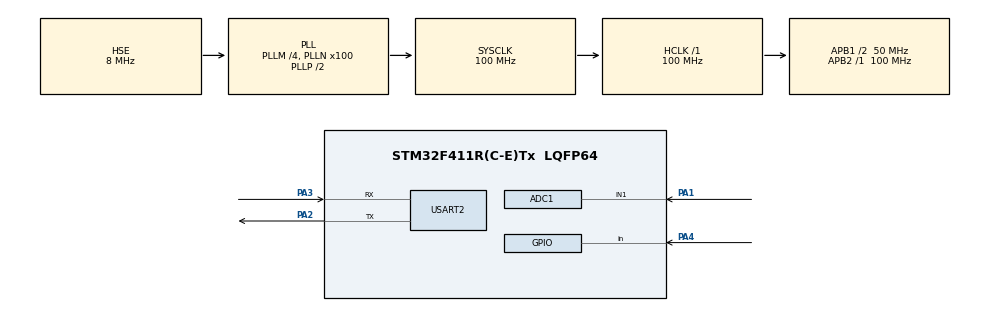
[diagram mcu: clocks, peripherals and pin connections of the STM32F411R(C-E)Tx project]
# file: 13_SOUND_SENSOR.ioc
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ADC1.Channel-0\#ChannelRegularConversion=ADC_CHANNEL_1
ADC1.ClockPrescaler=ADC_CLOCK_SYNC_PCLK_DIV8
ADC1.ContinuousConvMode=ENABLE
ADC1.DMAContinuousRequests=ENABLE
ADC1.NbrOfConversionFlag=1
ADC1.Rank-0\#ChannelRegularConversion=1
ADC1.SamplingTime-0\#ChannelRegularConversion=ADC_SAMPLETIME_480CYCLES
ADC1.ScanConvMode=ENABLE
ADC1.master=1
Dma.ADC1.0.Direction=DMA_PERIPH_TO_MEMORY
Dma.ADC1.0.FIFOMode=DMA_FIFOMODE_DISABLE
Dma.ADC1.0.Instance=DMA2_Stream0
Dma.ADC1.0.MemDataAlignment=DMA_MDATAALIGN_HALFWORD
Dma.ADC1.0.MemInc=DMA_MINC_ENABLE
Dma.ADC1.0.Mode=DMA_CIRCULAR
Dma.ADC1.0.PeriphDataAlignment=DMA_PDATAALIGN_HALFWORD
Dma.ADC1.0.PeriphInc=DMA_PINC_DISABLE
Dma.ADC1.0.Priority=DMA_PRIORITY_LOW
Dma.Request0=ADC1
Mcu.Family=STM32F4
Mcu.Name=STM32F411R(C-E)Tx
Mcu.Package=LQFP64
NVIC.DMA2_Stream0_IRQn=true\:0\:0\:false\:false\:true\:false\:true\:true
NVIC.PriorityGroup=NVIC_PRIORITYGROUP_4
PA1.Signal=ADCx_IN1
PA13.Mode=Serial_Wire
PA13.Signal=SYS_JTMS-SWDIO
PA14.Mode=Serial_Wire
PA14.Signal=SYS_JTCK-SWCLK
PA2.Mode=Asynchronous
PA2.Signal=USART2_TX
PA3.Mode=Asynchronous
PA3.Signal=USART2_RX
PA4.Signal=GPIO_Input
PH0\ -\ OSC_IN.Mode=HSE-External-Oscillator
PH0\ -\ OSC_IN.Signal=RCC_OSC_IN
PH1\ -\ OSC_OUT.Mode=HSE-External-Oscillator
PH1\ -\ OSC_OUT.Signal=RCC_OSC_OUT
ProjectManager.HeapSize=0x200
ProjectManager.StackSize=0x400
ProjectManager.TargetToolchain=STM32CubeIDE
RCC.48MHZClocksFreq_Value=50000000
RCC.AHBFreq_Value=100000000
RCC.APB1CLKDivider=RCC_HCLK_DIV2
RCC.APB1Freq_Value=50000000
RCC.APB1TimFreq_Value=100000000
RCC.APB2Freq_Value=100000000
RCC.APB2TimFreq_Value=100000000
RCC.CortexFreq_Value=100000000
RCC.HCLKFreq_Value=100000000
RCC.HSE_VALUE=8000000
RCC.HSI_VALUE=16000000
RCC.LSE_VALUE=32768
RCC.PLLM=4
RCC.PLLN=100
RCC.PLLSourceVirtual=RCC_PLLSOURCE_HSE
RCC.SYSCLKFreq_VALUE=100000000
RCC.SYSCLKSource=RCC_SYSCLKSOURCE_PLLCLK
RCC.VCOOutputFreq_Value=200000000
SH.ADCx_IN1.0=ADC1_IN1,IN1
USART2.VirtualMode=VM_ASYNC
board=custom

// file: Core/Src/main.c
/* USER CODE BEGIN Header */
/**
  ******************************************************************************
  * @file           : main.c
  * @brief          : Main program body
  ******************************************************************************
  * @attention
  *
  * Copyright (c) 2025 STMicroelectronics.
  * All rights reserved.
  *
  * This software is licensed under terms that can be found in the LICENSE file
  * in the root directory of this software component.
  * If no LICENSE file comes with this software, it is provided AS-IS.
  *
  ******************************************************************************
  */
/* USER CODE END Header */
#include "main.h"
#include "adc.h"
#include "dma.h"
#include "usart.h"
#include "gpio.h"

/* USER CODE BEGIN Includes */
#include "stdio.h"
/* USER CODE END Includes */

/* USER CODE BEGIN PV */
uint8_t soundValue = 0;
uint8_t soundState = 0;
uint32_t soundAnalog = 0;
uint32_t soundPrev = 0;
uint32_t soundDiff = 0;
/* USER CODE END PV */

void SystemClock_Config(void);
/* USER CODE BEGIN PFP */
// printf 같은 함수 출력 → UART Redirection
int _write(int file, unsigned char* p, int len) {
    HAL_StatusTypeDef status = HAL_UART_Transmit(&huart2, p, len, 100);
    return (status == HAL_OK ? len : 0);
}
/* USER CODE END PFP */

int main(void)
{

  /* MCU Configuration--------------------------------------------------------*/

  /* Reset of all peripherals, Initializes the Flash interface and the Systick. */
  HAL_Init();

  /* Configure the system clock */
  SystemClock_Config();

  /* Initialize all configured peripherals */
  MX_GPIO_Init();
  MX_DMA_Init();
  MX_USART2_UART_Init();
  MX_ADC1_Init();
  /* USER CODE BEGIN 2 */
  HAL_ADC_Start_DMA(&hadc1, &soundAnalog, 1);
  /* USER CODE END 2 */

  /* Infinite loop */
  /* USER CODE BEGIN WHILE */
  while (1)
  {
	  soundValue = HAL_GPIO_ReadPin(GPIOA, GPIO_PIN_4);

	  if (soundAnalog > soundPrev) {
		  soundDiff = soundAnalog - soundPrev;
	  }
	  else {
		  soundDiff = soundPrev - soundAnalog;
	  }

	  if (soundDiff >= 100) {
		  printf("Sound ADC = %4d, DIFF = %4d\r\n", soundAnalog, soundDiff);
	  }

	  soundPrev = soundAnalog;

//	  if (soundValue != soundState) {
//		  if (soundValue == 1) {
//			  printf("Sound Check %4d\r\n", soundAnalog);
//			  soundState = 1;
//		  }
//		  else if (soundValue == 0) {
//			  printf("Sound %4d\r\n", soundAnalog);
//			  soundState = 0;
//		  }
//	  }

	  HAL_Delay(10);
    /* USER CODE END WHILE */

  }
}

void SystemClock_Config(void)
{
  RCC_OscInitTypeDef RCC_OscInitStruct = {0};
  RCC_ClkInitTypeDef RCC_ClkInitStruct = {0};

  /** Configure the main internal regulator output voltage
  */
  __HAL_RCC_PWR_CLK_ENABLE();
  __HAL_PWR_VOLTAGESCALING_CONFIG(PWR_REGULATOR_VOLTAGE_SCALE1);

  /** Initializes the RCC Oscillators according to the specified parameters
  * in the RCC_OscInitTypeDef structure.
  */
  RCC_OscInitStruct.OscillatorType = RCC_OSCILLATORTYPE_HSE;
  RCC_OscInitStruct.HSEState = RCC_HSE_ON;
  RCC_OscInitStruct.PLL.PLLState = RCC_PLL_ON;
  RCC_OscInitStruct.PLL.PLLSource = RCC_PLLSOURCE_HSE;
  RCC_OscInitStruct.PLL.PLLM = 4;
  RCC_OscInitStruct.PLL.PLLN = 100;
  RCC_OscInitStruct.PLL.PLLP = RCC_PLLP_DIV2;
  RCC_OscInitStruct.PLL.PLLQ = 4;
  if (HAL_RCC_OscConfig(&RCC_OscInitStruct) != HAL_OK)
  {
    Error_Handler();
  }

  /** Initializes the CPU, AHB and APB buses clocks
  */
  RCC_ClkInitStruct.ClockType = RCC_CLOCKTYPE_HCLK|RCC_CLOCKTYPE_SYSCLK
                              |RCC_CLOCKTYPE_PCLK1|RCC_CLOCKTYPE_PCLK2;
  RCC_ClkInitStruct.SYSCLKSource = RCC_SYSCLKSOURCE_PLLCLK;
  RCC_ClkInitStruct.AHBCLKDivider = RCC_SYSCLK_DIV1;
  RCC_ClkInitStruct.APB1CLKDivider = RCC_HCLK_DIV2;
  RCC_ClkInitStruct.APB2CLKDivider = RCC_HCLK_DIV1;

  if (HAL_RCC_ClockConfig(&RCC_ClkInitStruct, FLASH_LATENCY_3) != HAL_OK)
  {
    Error_Handler();
  }
}

void Error_Handler(void)
{
  __disable_irq();
  while (1)
  {
  }
}
